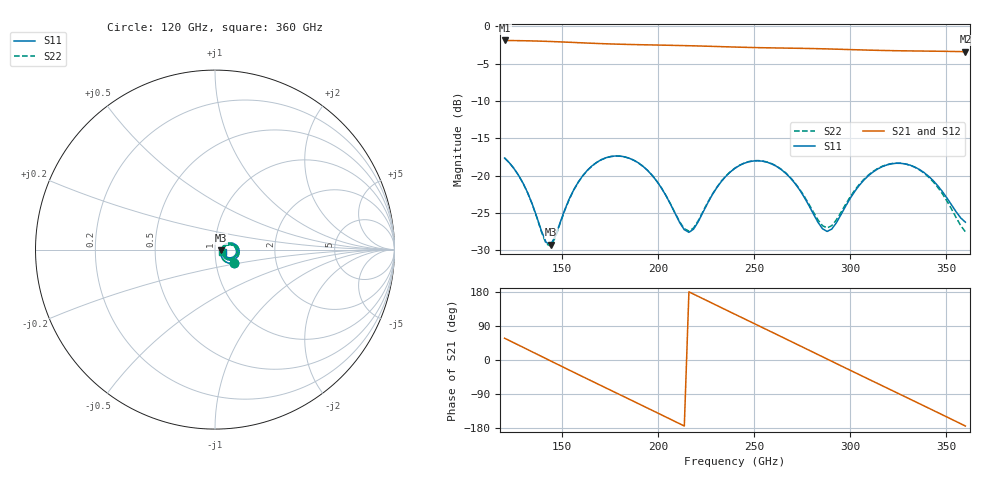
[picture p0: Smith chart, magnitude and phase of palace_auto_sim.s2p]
#  GHZ S DB R 50
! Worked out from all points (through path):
!   101 points, 120 GHz to 360 GHz, reference 50 ohm
!   highest |S21| = -1.89 dB at 120 GHz (marker M1); lowest = -3.4 dB at 360 GHz (marker M2)
!   group delay of S21, straight-line fit = 6.84 ps
!   lowest |S11| = -29.2 dB at 144 GHz (marker M3), VSWR 1.07, Z = 53.6 - j0.357 ohm
!   |S11| at or under -10 dB: start of sweep to end of sweep
!   |S22| runs from -29.5 to -17.4 dB; largest |S21 - S12| = 9.3e-14
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120  -17.65 -35.7  -1.89 57.4  -1.89 57.4  -17.65 -36.1
132  -22.30 -50.4  -1.93 27.5  -1.93 27.5  -22.32 -51.1
144  -29.25 -5.5  -2.02 -2.5  -2.02 -2.5  -29.46 -5.8
160.8  -19.98 20.9  -2.21 -44.3  -2.21 -44.3  -20.01 21.2
170.4  -17.86 6.2  -2.31 -67.9  -2.31 -67.9  -17.88 6.4
180  -17.38 -10.4  -2.39 -91.4  -2.39 -91.4  -17.39 -10.3
189.6  -18.29 -26.3  -2.45 -115.0  -2.45 -115.0  -18.29 -26.1
201.6  -21.63 -39.7  -2.51 -144.5  -2.51 -144.5  -21.61 -39.4
216  -27.61 -8.1  -2.59 179.8  -2.59 179.8  -27.45 -8.1
228  -22.65 22.2  -2.68 150.2  -2.68 150.2  -22.58 21.5
240  -19.02 11.0  -2.77 120.6  -2.77 120.6  -18.99 10.5
249.6  -18.04 -4.0  -2.83 97.1  -2.83 97.1  -18.01 -4.4
259.2  -18.44 -19.5  -2.88 73.5  -2.88 73.5  -18.41 -19.7
271.2  -21.04 -34.8  -2.93 44.0  -2.93 44.0  -20.96 -34.6
280.8  -25.13 -32.8  -2.97 20.3  -2.97 20.3  -24.89 -32.3
288  -27.49 -7.3  -3.02 2.5  -3.02 2.5  -27.02 -8.2
300  -23.05 22.3  -3.11 -27.1  -3.11 -27.1  -22.86 19.4
312  -19.50 13.1  -3.20 -56.5  -3.20 -56.5  -19.42 10.2
321.6  -18.42 -0.6  -3.25 -79.9  -3.25 -79.9  -18.39 -3.6
338.4  -19.58 -24.6  -3.31 -121.0  -3.31 -121.0  -19.66 -28.9
350.4  -23.01 -32.0  -3.35 -150.5  -3.35 -150.5  -23.41 -38.0
360  -26.25 -14.4  -3.39 -174.2  -3.39 -174.2  -27.53 -18.8
